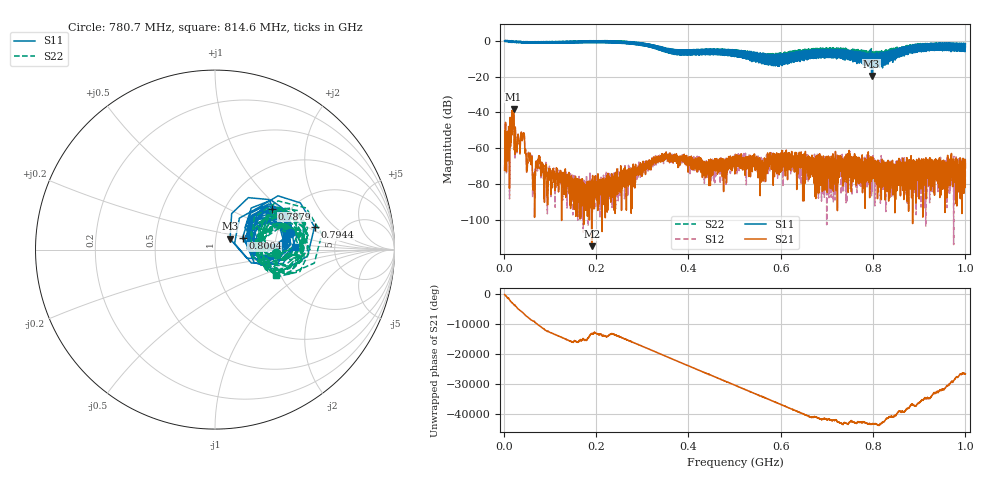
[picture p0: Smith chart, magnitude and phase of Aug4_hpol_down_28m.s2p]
!Keysight Technologies N9923A: A.12.45
!Date: Tuesday, 05 August 2025 18:35:27
!Timezone: (UTC+08:00) Kuala Lumpur, Singapore
!Model: N9923A
!Serial: MY61181427
!GPS Latitude:
!GPS Longitude:
!GPS TimeStamp: 0001-01-01 00:00:00Z
!GPS Seconds Since Last Read: 0
!CHECKSUM:0207145316
!Correction: S11(ON U)S21(ON U)S12(ON U)S22(ON U)
!S2P File: Measurements:S11,S21,S12,S22:
# Hz S DB R 50
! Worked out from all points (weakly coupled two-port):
!   4001 points, 2 MHz to 1 GHz, reference 50 ohm
!   highest |S21| = -38.04 dB at 21.46 MHz (marker M1); lowest = -114.6 dB at 190.6 MHz (marker M2)
!   lowest |S11| = -19.7 dB at 796.9 MHz (marker M3), VSWR 1.23, Z = 58.7 + j7.12 ohm
!   |S11| at or under -10 dB: 569.0965 MHz to 569.8883 MHz (791.8 kHz wide, 0.139 % of centre); 584.2565 MHz to 585.1254 MHz (868.9 kHz wide, 0.149 % of centre); 597.7839 MHz to 598.5711 MHz (787.2 kHz wide, 0.132 % of centre)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
!   |S22| runs from -13.8 to 0.1 dB; largest |S21 - S12| = 0.001
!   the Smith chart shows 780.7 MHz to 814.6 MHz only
!   S11 on the Smith chart (normalised r, x): 780.7 MHz: 2.34, +0.53; 787.9 MHz: 1.64, +0.88; 794.4 MHz: 3.15, +1.18; 800.4 MHz: 1.35, +0.18; 814.6 MHz: 2.61, +0.11
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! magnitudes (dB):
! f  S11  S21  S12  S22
! 2 MHz  -0.1  -72.3  -72.3  -0.1
! 21.46 MHz  -0.6  -38.0  -38.0  -0.6
! 30.94 MHz  -1.1  -52.2  -52.1  -1.1
! 41.17 MHz  -1.2  -54.4  -54.5  -1.1
! 64.13 MHz  -1.1  -78.8  -74.8  -1.1
! 74.11 MHz  -1.1  -71.2  -69.6  -1.0
! 91.07 MHz  -1.4  -69.2  -69.7  -1.2
! 168.4 MHz  -1.2  -87.8  -83.0  -1.0
! 190.6 MHz  -0.8  -114.6  -79.4  -0.8
! 251.3 MHz  -0.7  -74.8  -77.3  -0.7
! 334.8 MHz  -4.0  -65.9  -66.6  -4.7
! 444.1 MHz  -4.7  -66.4  -67.1  -5.0
! 501 MHz  -6.1  -67.8  -65.6  -6.9
! 667.4 MHz  -8.8  -72.6  -69.6  -8.4
! 780.7 MHz  -7.4  -70.2  -67.2  -9.3
! 787.9 MHz  -8.1  -68.2  -69.9  -5.6
! 794.4 MHz  -4.9  -71.9  -70.8  -7.9
! 796.9 MHz  -19.7  -73.1  -73.2  -7.0
! 800.4 MHz  -15.6  -69.5  -76.3  -9.1
! 814.6 MHz  -7.0  -71.2  -66.8  -8.7
! 833.8 MHz  -8.9  -89.4  -75.3  -5.5
! 1 GHz  -1.7  -70.8  -67.6  -3.2
